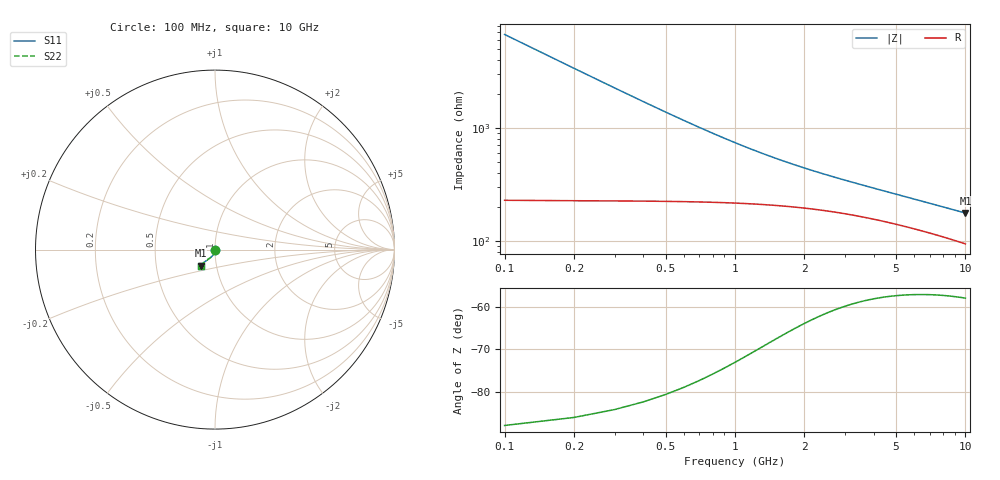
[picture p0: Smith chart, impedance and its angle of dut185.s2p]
! Touchstone file exported from HFSS 2024.1.0
!  File:  C:/UserFiles/LocalFiles/RDL_TSV_Batchsim/temp_TSV1_185_1778756619.aedt
!  Generated:  07:07:41 PM May 14, 2026
!  Design:  TSV1
!  Project:  temp_TSV1_185_1778756619
!  Setup:  Setup1
!  Solution:  Sweep
! Variables:
!  dtsv = 26.45um
!  hbump = 3um
!  htsv = 74.13um
!  lrdl = 252.1521522um
!  p = 40
!  p1 = 55.49um
!  t = 500um
!  trdl = 3um
!  wrdl = 24.89489489um
# GHz S MA R 50.000000
! Terminal data exported
! Port[1] = TSV22_T1
! Port[2] = TSV22_T2
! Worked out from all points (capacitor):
!   100 points, 100 MHz to 10 GHz, reference 50 ohm
!   read as one part in shunt: C = 237 fF near 100 MHz
!   lowest |Z| = 176 ohm at 10 GHz (marker M1)
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0.1  0.003497 -90.9  0.9998 -0.2  0.9998 -0.2  0.003497 -90.9
! Gamma 0 0 0 0
! Port Impedance 50 0 50 0
0.2  0.006969 -93.6  0.9994 -0.4  0.9994 -0.4  0.006969 -93.6
0.3  0.0104 -95.9  0.9987 -0.7  0.9987 -0.7  0.0104 -95.9
0.4  0.01375 -98.0  0.9978 -0.9  0.9978 -0.9  0.01375 -98.0
0.5  0.01703 -100.1  0.9967 -1.1  0.9967 -1.1  0.01703 -100.1
0.6  0.0202 -102.0  0.9954 -1.3  0.9954 -1.3  0.0202 -102.0
0.7  0.02326 -103.9  0.994 -1.5  0.994 -1.5  0.02326 -103.9
0.8  0.0262 -105.7  0.9925 -1.6  0.9925 -1.6  0.0262 -105.7
0.9  0.02902 -107.3  0.9909 -1.8  0.9909 -1.8  0.02902 -107.3
1.1  0.03427 -110.4  0.9876 -2.1  0.9876 -2.1  0.03427 -110.4
1.4  0.04123 -114.3  0.9828 -2.4  0.9828 -2.4  0.04123 -114.3
1.6  0.04532 -116.5  0.9797 -2.7  0.9797 -2.7  0.04532 -116.5
1.8  0.04903 -118.4  0.9767 -2.8  0.9767 -2.8  0.04903 -118.4
2.1  0.05401 -120.8  0.9726 -3.1  0.9726 -3.1  0.05401 -120.8
2.5  0.0598 -123.2  0.9678 -3.4  0.9678 -3.4  0.0598 -123.2
2.9  0.06488 -125.0  0.9635 -3.7  0.9635 -3.7  0.06488 -125.0
3.4  0.07056 -126.6  0.9588 -4.0  0.9588 -4.0  0.07056 -126.6
4.2  0.07859 -128.4  0.9524 -4.4  0.9524 -4.4  0.07859 -128.4
5.1  0.08659 -129.7  0.9463 -4.9  0.9463 -4.9  0.08659 -129.7
6.7  0.09904 -131.0  0.9375 -5.7  0.9375 -5.7  0.09904 -131.0
8.4  0.1106 -131.7  0.9298 -6.5  0.9298 -6.5  0.1106 -131.7
10  0.1205 -132.1  0.9237 -7.2  0.9237 -7.2  0.1205 -132.1
